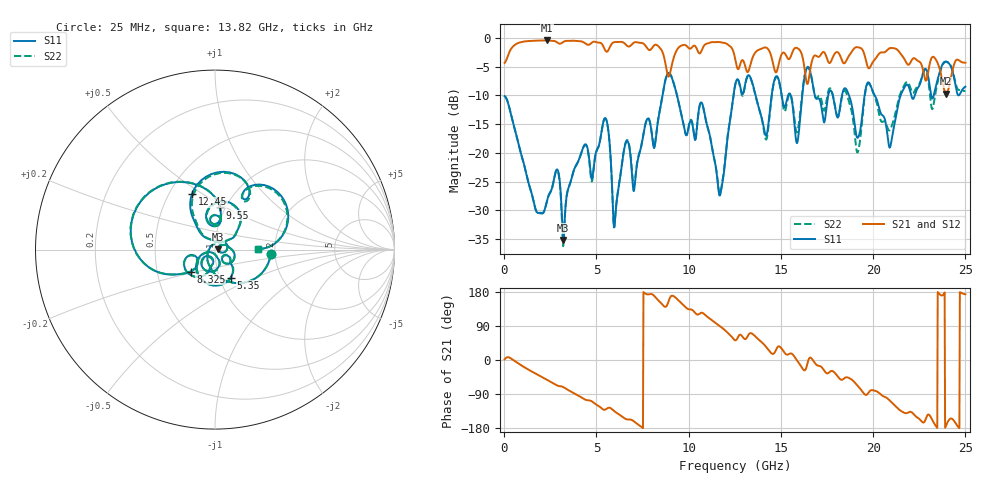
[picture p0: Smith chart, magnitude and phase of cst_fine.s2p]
! R_s4_lshape_n0: L-shaped planes (24 × 16 mm minus an 8 × 6 mm corner), via L1 → L4, no return via
! stackup: 4-layer 1.6 mm FR-4
! ports: 1 L1, 2 L4
! CST Studio Suite 2025.5 Release from 2025-05-30, time domain (FIT, hexahedral, PBA), 652500 mesh cells, 190 s
! mesh: {'lpw': 30.0, 'lpb': 30.0, 'minstep': 0.0, 'ratio': 20}; ports: port 1 (face); port 2 (face)
! interpolated from CST's 1001 samples to the case grid
# Hz S RI R 50
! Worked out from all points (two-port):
!   1000 points, 25 MHz to 25 GHz, reference 50 ohm
!   highest |S21| = -0.43 dB at 2.325 GHz (marker M1); lowest = -9.7 dB at 23.95 GHz (marker M2)
!   |S21| within 3 dB of the highest: 164.2 MHz to 8.675 GHz (8.511 GHz wide, 193 % of centre); 9.191 GHz to 12.51 GHz (3.318 GHz wide, 30.6 % of centre)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
!   lowest |S11| = -35.2 dB at 3.2 GHz (marker M3), VSWR 1.04, Z = 51.8 + j0.142 ohm
!   |S11| at or under -10 dB: start of sweep to 8.585 GHz; 9.37 GHz to 12.43 GHz (3.059 GHz wide, 28.1 % of centre); 20.09 GHz to 21.49 GHz (1.399 GHz wide, 6.73 % of centre)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
!   |S22| runs from -36.2 to -4.2 dB; largest |S21 - S12| = 0.00038
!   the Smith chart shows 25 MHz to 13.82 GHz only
!   S11 on the Smith chart (normalised r, x): 25 MHz: 1.90, -0.11; 5.35 GHz: 1.13, -0.37; 8.325 GHz: 0.74, -0.19; 9.55 GHz: 0.94, +0.47; 12.45 GHz: 0.65, +0.45; 13.82 GHz: 1.63, +0.01
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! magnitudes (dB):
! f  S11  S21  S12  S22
! 25 MHz  -10.1  -4.3  -4.3  -10.1
! 2.325 GHz  -28.3  -0.4  -0.4  -28.3
! 3.2 GHz  -35.2  -0.7  -0.7  -36.2
! 4.2 GHz  -19.8  -0.6  -0.6  -19.8
! 5.35 GHz  -14.9  -1.3  -1.3  -15.0
! 6 GHz  -32.1  -0.7  -0.7  -32.0
! 6.6 GHz  -18.1  -1.2  -1.2  -18.1
! 7.05 GHz  -26.4  -0.8  -0.8  -25.6
! 8.325 GHz  -14.8  -1.3  -1.3  -14.6
! 8.35 GHz  -14.2  -1.4  -1.4  -14.1
! 9.55 GHz  -12.5  -1.4  -1.4  -12.5
! 10.75 GHz  -11.6  -1.9  -1.9  -11.7
! 11.7 GHz  -27.4  -0.7  -0.7  -27.1
! 12.45 GHz  -9.5  -2.6  -2.6  -9.5
! 12.53 GHz  -8.1  -3.7  -3.7  -8.2
! 13.82 GHz  -12.4  -2.0  -2.0  -12.4
! 14.8 GHz  -6.7  -5.6  -5.6  -6.8
! 15.88 GHz  -18.3  -1.7  -1.7  -16.4
! 16.68 GHz  -7.1  -4.1  -4.1  -7.1
! 20.85 GHz  -18.7  -1.9  -1.9  -16.1
! 23.95 GHz  -4.1  -9.7  -9.7  -4.2
! 25 GHz  -8.5  -4.3  -4.3  -9.2
